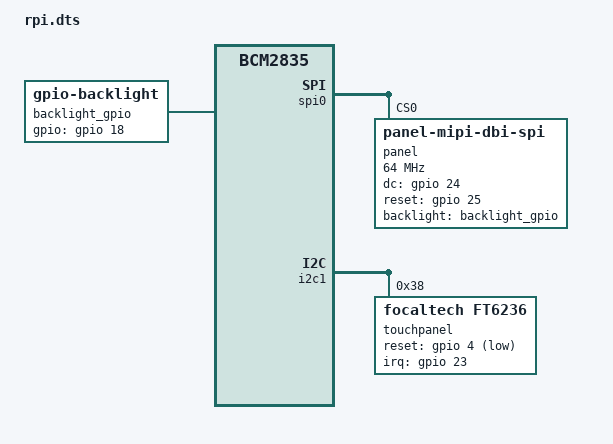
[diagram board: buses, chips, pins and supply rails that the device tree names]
/dts-v1/;
/plugin/;

/ {
        compatible = "brcm,bcm2835";

        fragment@0 {
		target-path = "spi0/spidev@0";
		__overlay__ {
			status = "disabled";
		};
        };


        fragment@1 {
                target = <&spi0>;
                __overlay__ {
                        #address-cells = <1>;
                        #size-cells = <0>;
                        status = "okay";

                        panel: panel@0 {
                                compatible = "panel-mipi-dbi-spi";
                                reg = <0>;
                                spi-max-frequency = <64000000>;

                                dc-gpios = <&gpio 24 0>;
                                reset-gpios = <&gpio 25 0>;
                                write-only;

                                format = "b6x2g6x2r6x2";

                                backlight = <&backlight_gpio>;

                                width-mm = <73>;
                                height-mm = <49>;

                                panel-timing {
                                        hactive = <480>;
                                        vactive = <320>;
                                        hback-porch = <0>;
                                        vback-porch = <0>;
                                        clock-frequency = <0>;
                                        hfront-porch = <0>;
                                        hsync-len = <0>;
                                        vfront-porch = <0>;
                                        vsync-len = <0>;
                                };
                        };
                };
        };

	fragment@2 {
		target-path = "/";
		__overlay__ {
			backlight_gpio: backlight_gpio {
				compatible = "gpio-backlight";
				gpios = <&gpio 18 0>;
				default-on;
			};
		};
	};

	fragment@3 {
		target = <&i2c1>;
		__overlay__ {
			#address-cells = <1>;
			#size-cells = <0>;
			status = "okay";

			touchpanel: touch@38 {
				compatible = "focaltech,ft6236";
				status = "okay";
				reg = <0x38>;
				reset-gpios = <&gpio 4 1>;
				interrupt-parent = <&gpio>;
				interrupts = <23 2>;
				
				touchscreen-size-x = <320>;
				touchscreen-size-y = <480>;
			};
		};
	};


        __overrides__ {
                touch-sizex = <&touchpanel>,"touchscreen-size-x?";
                touch-sizey = <&touchpanel>,"touchscreen-size-y?";
                touch-invx  = <&touchpanel>,"touchscreen-inverted-x?";
                touch-invy  = <&touchpanel>,"touchscreen-inverted-y?";
                touch-swapxy = <&touchpanel>,"touchscreen-swapped-x-y?";
        };
};
